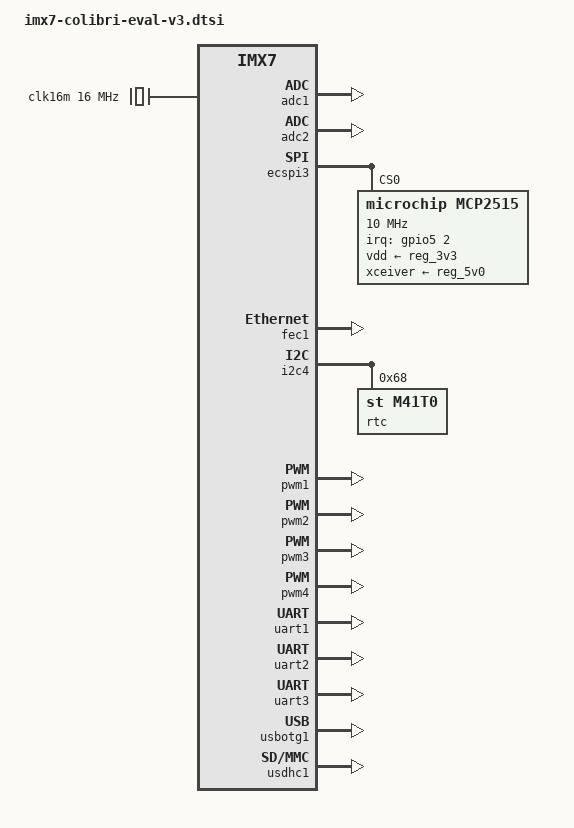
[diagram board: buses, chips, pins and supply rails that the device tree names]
// SPDX-License-Identifier: GPL-2.0-or-later OR MIT
/*
 * Copyright 2016-2022 Toradex
 */

/ {
	/* fixed crystal dedicated to mpc258x */
	clk16m: clk16m {
		compatible = "fixed-clock";
		#clock-cells = <0>;
		clock-frequency = <16000000>;
	};
};

&adc1 {
	status = "okay";
};

&adc2 {
	status = "okay";
};

/*
 * The Atmel maxtouch controller uses SODIMM 28/30, also used for PWM<B>, PWM<C>, aka pwm2, pwm3.
 * So if you enable following capacitive touch controller, disable pwm2/pwm3 first.
 */
&atmel_mxt_ts {
	interrupt-parent = <&gpio1>;
	interrupts = <9 IRQ_TYPE_EDGE_FALLING>;		/* SODIMM 28 / INT */
	pinctrl-0 = <&pinctrl_atmel_adapter>;
	reset-gpios = <&gpio1 10 GPIO_ACTIVE_LOW>;	/* SODIMM 30 / RST */
	status = "disabled";
};

&ecspi3 {
	status = "okay";

	mcp2515: can@0 {
		compatible = "microchip,mcp2515";
		pinctrl-names = "default";
		pinctrl-0 = <&pinctrl_can_int>;
		reg = <0>;
		clocks = <&clk16m>;
		interrupt-parent = <&gpio5>;
		interrupts = <2 IRQ_TYPE_EDGE_FALLING>;
		spi-max-frequency = <10000000>;
		vdd-supply = <&reg_3v3>;
		xceiver-supply = <&reg_5v0>;
		status = "okay";
	};
};

&fec1 {
	status = "okay";
};

&i2c4 {
	status = "okay";

	/* M41T0M6 real time clock on carrier board */
	rtc: rtc@68 {
		compatible = "st,m41t0";
		reg = <0x68>;
	};
};

&pwm1 {
	status = "okay";
};

&pwm2 {
	status = "okay";
};

&pwm3 {
	status = "okay";
};

&pwm4 {
	status = "okay";
};

&uart1 {
	status = "okay";
};

&uart2 {
	status = "okay";
};

&uart3 {
	status = "okay";
};

&usbotg1 {
	status = "okay";
};

&usdhc1 {
	status = "okay";
};
